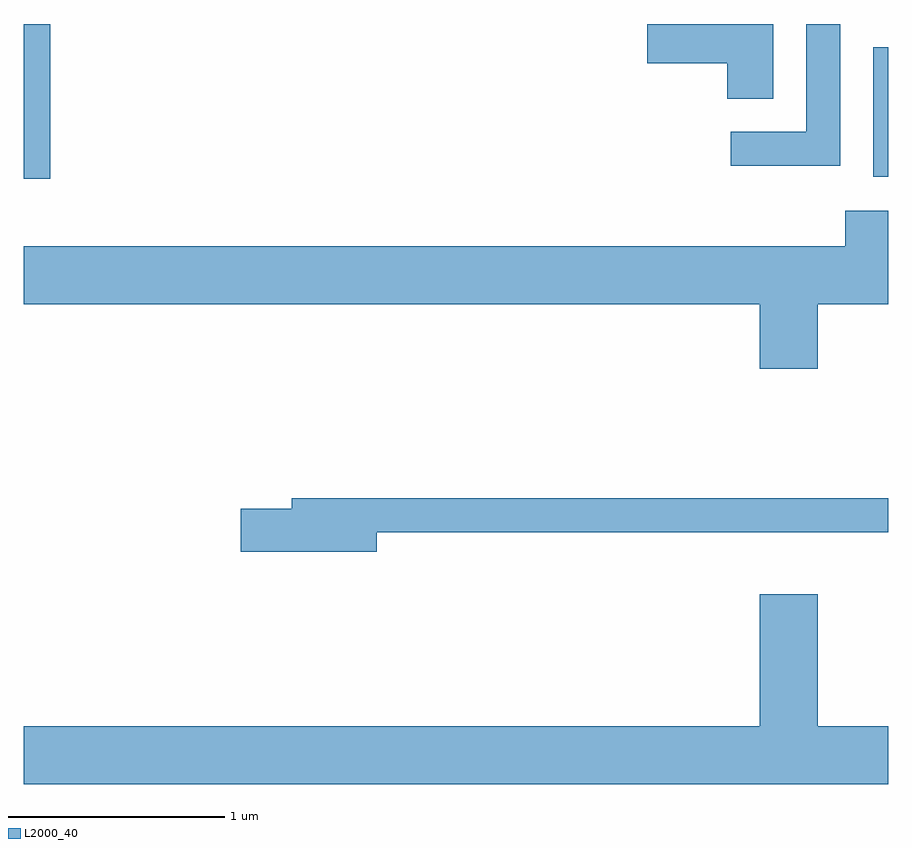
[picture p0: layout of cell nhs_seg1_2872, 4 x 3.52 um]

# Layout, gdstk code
import gdstk
lib = gdstk.Library(unit=1e-6, precision=1e-09)
def R(c, l, rs):  # rectangles x0, y0, x1, y1
    for r in rs: c.add(gdstk.rectangle(r[:2], r[2:], *l))
def P(c, l, *ps):  # polygons
    for p in ps: c.add(gdstk.Polygon(p, *l))
L2000_40 = (2000, 40)

nhs_seg1_2872 = lib.new_cell('nhs_seg1_2872')
R(nhs_seg1_2872, L2000_40, [(271.611,948.996,271.734,949.712), (275.541,949.006,275.611,949.604)])
P(nhs_seg1_2872, L2000_40, [(275.389,949.712),(275.231,949.712),(275.231,949.214),(274.883,949.214),(274.883,949.056),(275.389,949.056)],
  [(275.079,949.712),(274.496,949.712),(274.496,949.531),(274.866,949.531),(274.866,949.366),(275.079,949.366)],
  [(275.284,948.416),(275.611,948.416),(275.611,948.849),(275.411,948.849),(275.411,948.684),(271.611,948.684),(271.611,948.416),(275.016,948.416),(275.016,948.116),(275.284,948.116)],
  [(273.244,947.361),(275.611,947.361),(275.611,947.519),(272.851,947.519),(272.851,947.469),(272.616,947.469),(272.616,947.271),(273.244,947.271)],
  [(275.611,946.464),(275.284,946.464),(275.284,947.074),(275.016,947.074),(275.016,946.464),(271.611,946.464),(271.611,946.196),(275.611,946.196)])

lib.write_gds('nhs_seg1_2872.gds')
